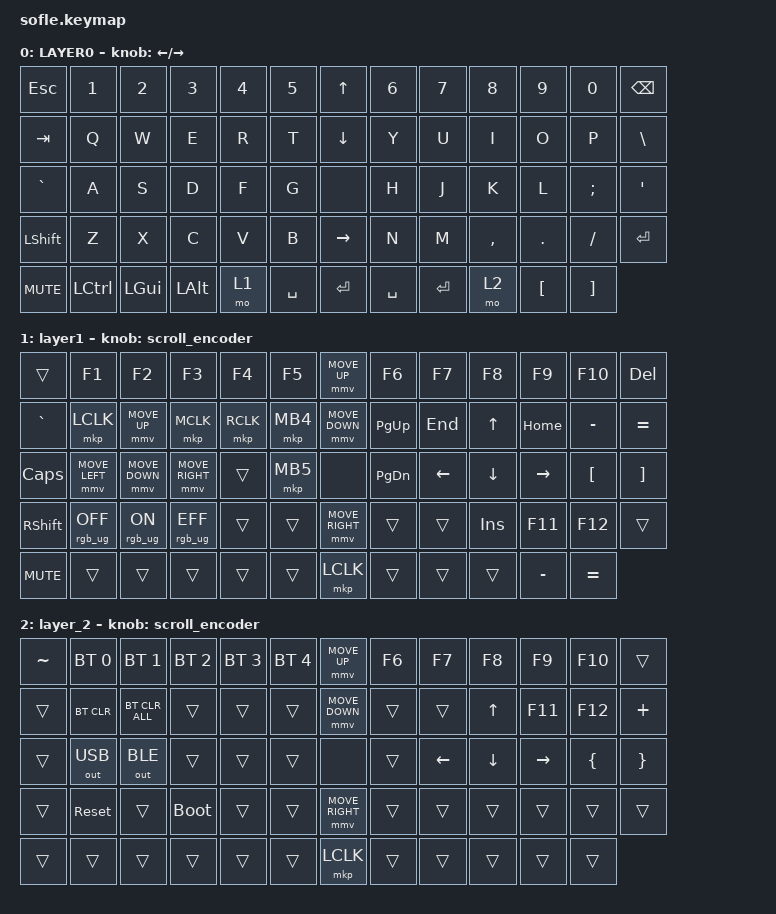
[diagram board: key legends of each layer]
#include <behaviors/mouse_keys.dtsi>
#include <dt-bindings/zmk/mouse.h>
#include <behaviors.dtsi>
#include <dt-bindings/zmk/bt.h>
#include <dt-bindings/zmk/keys.h>
#include <dt-bindings/zmk/outputs.h>
#include <dt-bindings/zmk/pointing.h>
#include <dt-bindings/zmk/rgb.h>

#define ZMK_MOUSE_DEFAULT_MOVE_VAL 1200  // 600
#define ZMK_MOUSE_DEFAULT_SCRL_VAL 20    // 10
#define U_MS_U &mmv MOVE_UP
#define U_MS_D &mmv MOVE_DOWN
#define U_MS_L &mmv MOVE_LEFT
#define U_MS_R &mmv MOVE_RIGHT
#define ZMK_MOUSE_DEFAULT_MOVE_VAL 1200  //  600
#define ZMK_MOUSE_DEFAULT_SCRL_VAL 20    // 10

/ {
    behaviors {
        mmv {
            acceleration-exponent = <1>;      // 1
            time-to-max-speed-ms = <900>;    // 40
            delay-ms = <0>;                   // 0
        };

        msc {
            acceleration-exponent = <1>;      // 0
            time-to-max-speed-ms = <400>;      // 500
            delay-ms = <0>;                   //   10
        };
    };

    scroll_encoder: scroll_encoder {
        compatible = "zmk,behavior-sensor-rotate";
        #sensor-binding-cells = <0>;
        bindings = <&msc SCRL_DOWN>, <&msc SCRL_UP>;

        tap-ms = <30>;
    };

    keymap {
        compatible = "zmk,keymap";

        layer0 {
            bindings = <
&kp ESC     &kp N1     &kp N2        &kp N3        &kp N4  &kp N5       &kp UP_ARROW     &kp N6     &kp N7     &kp N8     &kp N9            &kp N0             &kp BACKSPACE
&kp TAB     &kp Q      &kp W         &kp E         &kp R   &kp T        &kp DOWN_ARROW   &kp Y      &kp U      &kp I      &kp O             &kp P              &kp BSLH
&kp GRAVE   &kp A      &kp S         &kp D         &kp F   &kp G        &none            &kp H      &kp J      &kp K      &kp L             &kp SEMI           &kp APOS
&kp LSHFT   &kp Z      &kp X         &kp C         &kp V   &kp B        &kp RIGHT_ARROW  &kp N      &kp M      &kp COMMA  &kp DOT           &kp FSLH           &kp ENTER
&kp C_MUTE  &kp LCTRL  &kp LEFT_GUI  &kp LEFT_ALT  &mo 1   &kp SPACE    &kp ENTER        &kp SPACE  &kp ENTER  &mo 2      &kp LEFT_BRACKET  &kp RIGHT_BRACKET
            >;

            sensor-bindings = <&inc_dec_kp LEFT RIGHT>;
            display-name = "LAYER0";
        };

        layer_1 {
            bindings = <
&trans      &kp F1           &kp F2          &kp F3           &kp F4     &kp F5      &mmv MOVE_UP     &kp F6     &kp F7    &kp F8      &kp F9     &kp F10           &kp DEL
&kp GRAVE   &mkp LCLK        &mmv MOVE_UP    &mkp MCLK        &mkp RCLK  &mkp MB4    &mmv MOVE_DOWN   &kp PG_UP  &kp END   &kp UP      &kp HOME   &kp MINUS         &kp EQUAL
&kp CAPS    &mmv MOVE_LEFT   &mmv MOVE_DOWN  &mmv MOVE_RIGHT  &trans     &mkp MB5    &none            &kp PG_DN  &kp LEFT  &kp DOWN    &kp RIGHT  &kp LEFT_BRACKET  &kp RIGHT_BRACKET
&kp RSHIFT  &rgb_ug RGB_OFF  &rgb_ug RGB_ON  &rgb_ug RGB_EFF  &trans     &trans      &mmv MOVE_RIGHT  &trans     &trans    &kp INSERT  &kp F11    &kp F12           &trans
&kp C_MUTE  &trans           &trans          &trans           &trans     &trans      &mkp LCLK        &trans     &trans    &trans      &kp MINUS  &kp EQUAL
            >;

            display-name = "layer1";
            sensor-bindings = <&scroll_encoder>;
        };

        layer_2 {
            bindings = <
&kp TILDE  &bt BT_SEL 0  &bt BT_SEL 1    &bt BT_SEL 2  &bt BT_SEL 3  &bt BT_SEL 4    &mmv MOVE_UP     &kp F6  &kp F7          &kp F8          &kp F9     &kp F10   &trans
&trans     &bt BT_CLR    &bt BT_CLR_ALL  &trans        &trans        &trans          &mmv MOVE_DOWN   &trans  &trans          &kp UP_ARROW    &kp F11    &kp F12   &kp PLUS
&trans     &out OUT_USB  &out OUT_BLE    &trans        &trans        &trans          &none            &trans  &kp LEFT_ARROW  &kp DOWN_ARROW  &kp RIGHT  &kp LBRC  &kp RBRC
&trans     &sys_reset    &trans          &bootloader   &trans        &trans          &mmv MOVE_RIGHT  &trans  &trans          &trans          &trans     &trans    &trans
&trans     &trans        &trans          &trans        &trans        &trans          &mkp LCLK        &trans  &trans          &trans          &trans     &trans
            >;

            sensor-bindings = <&scroll_encoder>;
        };
    };
};
